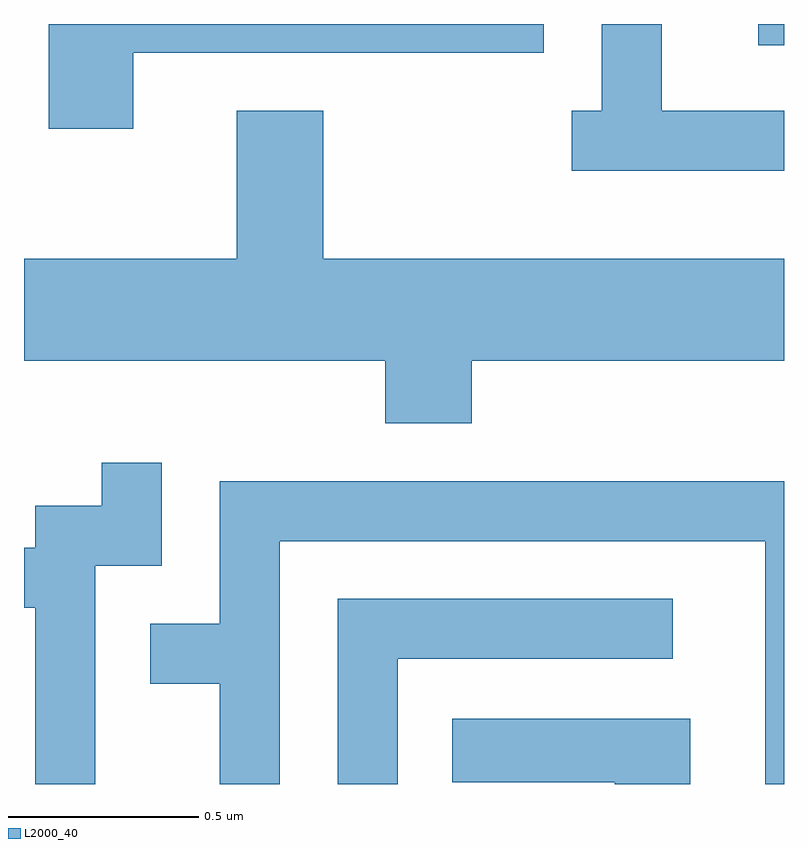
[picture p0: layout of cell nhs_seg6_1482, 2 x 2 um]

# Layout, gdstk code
import gdstk
lib = gdstk.Library(unit=1e-6, precision=1e-09)
def R(c, l, rs):  # rectangles x0, y0, x1, y1
    for r in rs: c.add(gdstk.rectangle(r[:2], r[2:], *l))
def P(c, l, *ps):  # polygons
    for p in ps: c.add(gdstk.Polygon(p, *l))
L2000_40 = (2000, 40)

nhs_seg6_1482 = lib.new_cell('nhs_seg6_1482')
R(nhs_seg6_1482, L2000_40, [(197.543,1644.106,197.611,1644.162)])
P(nhs_seg6_1482, L2000_40, [(195.899,1644.086),(196.979,1644.086),(196.979,1644.162),(195.676,1644.162),(195.676,1643.886),(195.899,1643.886)],
  [(197.611,1643.934),(197.289,1643.934),(197.289,1644.162),(197.131,1644.162),(197.131,1643.934),(197.053,1643.934),(197.053,1643.776),(197.611,1643.776)],
  [(196.789,1643.276),(197.611,1643.276),(197.611,1643.544),(196.399,1643.544),(196.399,1643.934),(196.171,1643.934),(196.171,1643.544),(195.611,1643.544),(195.611,1643.276),(196.561,1643.276),(196.561,1643.111),(196.789,1643.111)],
  [(195.799,1642.736),(195.974,1642.736),(195.974,1643.008),(195.816,1643.008),(195.816,1642.894),(195.641,1642.894),(195.641,1642.784),(195.611,1642.784),(195.611,1642.626),(195.641,1642.626),(195.641,1642.162),(195.799,1642.162)],
  [(196.284,1642.801),(197.561,1642.801),(197.561,1642.162),(197.611,1642.162),(197.611,1642.959),(196.126,1642.959),(196.126,1642.584),(195.943,1642.584),(195.943,1642.426),(196.126,1642.426),(196.126,1642.162),(196.284,1642.162)],
  [(196.594,1642.491),(197.318,1642.491),(197.318,1642.649),(196.436,1642.649),(196.436,1642.162),(196.594,1642.162)],
  [(197.364,1642.334),(196.738,1642.334),(196.738,1642.166),(197.166,1642.166),(197.166,1642.162),(197.364,1642.162)])

lib.write_gds('nhs_seg6_1482.gds')
